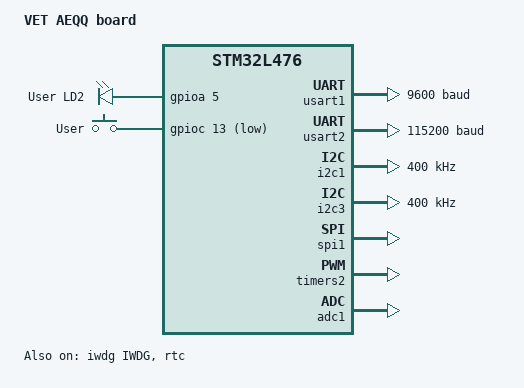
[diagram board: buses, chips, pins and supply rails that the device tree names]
/*
 * Copyright (c) 2020 Laird Connectivity
 */

/dts-v1/;
#include <st/l4/stm32l476Xg.dtsi>

/ {
	model = "VET AEQQ board";
	compatible = "st,stm32l476";

	chosen {
		zephyr,console = &usart2;
		zephyr,shell-uart = &usart2;
		zephyr,sram = &sram0;
		zephyr,flash = &flash0;
	};

	leds {
		compatible = "gpio-leds";
		green_led_2: led_2 {
			gpios = <&gpioa 5 GPIO_INT_ACTIVE_HIGH>;
			label = "User LD2";
		};
	};

	gpio_keys {
		compatible = "gpio-keys";
		user_button: button {
			label = "User";
			gpios = <&gpioc 13 GPIO_INT_ACTIVE_LOW>;
		};
	};

	aliases {
		led0 = &green_led_2;
		sw0 = &user_button;
	};
};

&iwdg {
	label = "IWDG";
	status = "okay";
};

&usart1 {
	current-speed = <9600>;
	status = "okay";
};

&usart2 {
	current-speed = <115200>;
	status = "okay";
};

&i2c1 {
	status = "okay";
	clock-frequency = <I2C_BITRATE_FAST>;
};

&i2c3 {
	status = "okay";
	clock-frequency = <I2C_BITRATE_FAST>;
};

&spi1 {
	status = "okay";
};

&timers2 {
	status = "okay";

	pwm {
		status = "okay";
	};
};

&rtc {
	status = "okay";
};

&adc1 {
	status = "okay";
};

&flash0 {
	/*
	 * For more information, see:
	 * http://docs.zephyrproject.org/devices/dts/flash_partitions.html
	 */
	partitions {
		compatible = "fixed-partitions";
		#address-cells = <1>;
		#size-cells = <1>;

		/* 64KB for bootloader */
		boot_partition: partition@0 {
			label = "mcuboot";
			reg = <0x00000000 0x00010000>;
			read-only;
		};

		/* user_data: 64KB for settings */
		user_data_partition: partition@10000 {
			label = "user_data";
			reg = <0x00010000 0x00010000>;
		};

		/* storage: 128KB for settings */
		storage_partition: partition@20000 {
			label = "storage";
			reg = <0x00020000 0x00020000>;
		};

		/* application image slot: 256KB */
		slot0_partition: partition@40000 {
			label = "image-0";
			reg = <0x00040000 0x00040000>;
		};

		/* upgrade slot: 256KB */
		slot1_partition: partition@80000 {
			label = "image-1";
			reg = <0x00080000 0x00040000>;
		};

		/* swap slot: 256KB */
		scratch_partition: partition@c0000 {
			label = "image-scratch";
			reg = <0x000c0000 0x00040000>;
		};
	};
};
